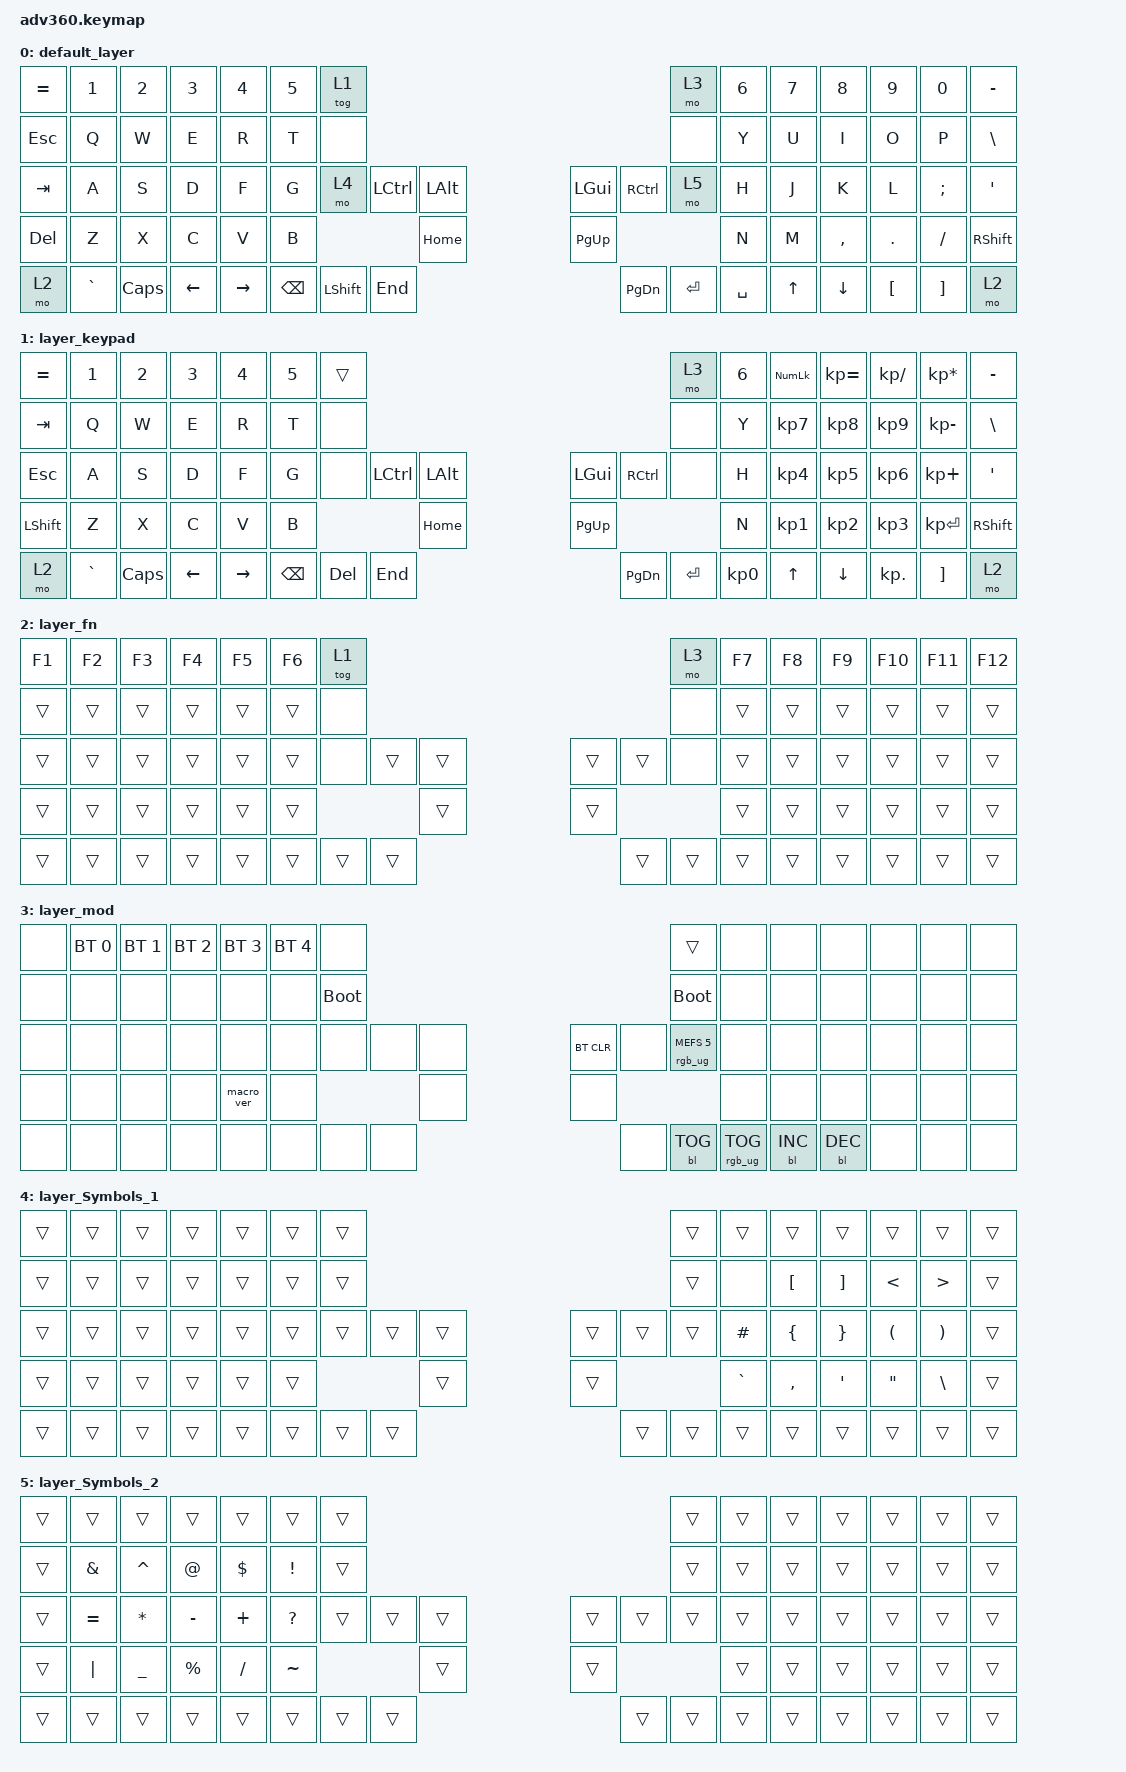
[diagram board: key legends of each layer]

/*
 * Copyright (c) 2020 The ZMK Contributors
 *
 * SPDX-License-Identifier: MIT
 */


/* THIS FILE WAS GENERATED!
 *
 * This file was generated automatically. You may or may not want to
 * edit it directly.
 */

#include <behaviors.dtsi>
#include <dt-bindings/zmk/keys.h>
#include <dt-bindings/zmk/bt.h>
#include <dt-bindings/zmk/rgb.h>
#include <dt-bindings/zmk/backlight.h>

/ {
  behaviors {
    #include "macros.dtsi"
    #include "version.dtsi"

    hm: homerow_mods {
        compatible = "zmk,behavior-hold-tap";
        label = "HOMEROW_MODS";
        #binding-cells = <2>;
        tapping-term-ms = <200>;
        quick_tap_ms = <175>;
        flavor = "tap-preferred";
        bindings = <&kp>, <&kp>;
    };
  };

    keymap {
        compatible = "zmk,keymap";


        default_layer {
            bindings = <
  &kp EQUAL     &kp N1    &kp N2    &kp N3     &kp N4  &kp N5              &tog 1                                                                      &mo 3  &kp N6  &kp N7     &kp N8    &kp N9    &kp N0  &kp MINUS
    &kp ESC      &kp Q     &kp W     &kp E      &kp R   &kp T               &none                                                                      &none   &kp Y   &kp U      &kp I     &kp O     &kp P   &kp BSLH
    &kp TAB      &kp A     &kp S     &kp D      &kp F   &kp G               &mo 4       &kp LCTRL  &kp LALT                   &kp LGUI  &kp RCTRL      &mo 5   &kp H   &kp J      &kp K     &kp L  &kp SEMI    &kp SQT
 &kp DELETE      &kp Z     &kp X     &kp C      &kp V   &kp B                                      &kp HOME                  &kp PG_UP                         &kp N   &kp M  &kp COMMA   &kp DOT  &kp FSLH  &kp RSHFT
      &mo 2  &kp GRAVE  &kp CAPS  &kp LEFT  &kp RIGHT                    &kp BSPC  &kp LEFT_SHIFT   &kp END                  &kp PG_DN  &kp ENTER  &kp SPACE          &kp UP   &kp DOWN  &kp LBKT  &kp RBKT      &mo 2
            >;
        };

        layer_keypad {
            bindings = <
 &kp EQUAL     &kp N1    &kp N2    &kp N3     &kp N4  &kp N5              &trans                                                                 &mo 3  &kp N6  &kp KP_NUM  &kp KP_EQUAL  &kp KP_DIVIDE  &kp KP_MULTIPLY  &kp MINUS
   &kp TAB      &kp Q     &kp W     &kp E      &kp R   &kp T               &none                                                                 &none   &kp Y   &kp KP_N7     &kp KP_N8      &kp KP_N9     &kp KP_MINUS   &kp BSLH
   &kp ESC      &kp A     &kp S     &kp D      &kp F   &kp G               &none  &kp LCTRL  &kp LALT                   &kp LGUI  &kp RCTRL      &none   &kp H   &kp KP_N4     &kp KP_N5      &kp KP_N6      &kp KP_PLUS    &kp SQT
 &kp LSHFT      &kp Z     &kp X     &kp C      &kp V   &kp B                                 &kp HOME                  &kp PG_UP                         &kp N   &kp KP_N1     &kp KP_N2      &kp KP_N3     &kp KP_ENTER  &kp RSHFT
     &mo 2  &kp GRAVE  &kp CAPS  &kp LEFT  &kp RIGHT                    &kp BSPC    &kp DEL   &kp END                  &kp PG_DN  &kp ENTER  &kp KP_N0              &kp UP      &kp DOWN     &kp KP_DOT         &kp RBKT      &mo 2
            >;
        };

        layer_fn {
            bindings = <
 &kp F1  &kp F2  &kp F3  &kp F4  &kp F5  &kp F6            &tog 1                                                   &mo 3  &kp F7  &kp F8  &kp F9  &kp F10  &kp F11  &kp F12
 &trans  &trans  &trans  &trans  &trans  &trans             &none                                                   &none  &trans  &trans  &trans   &trans   &trans   &trans
 &trans  &trans  &trans  &trans  &trans  &trans             &none  &trans  &trans                  &trans  &trans   &none  &trans  &trans  &trans   &trans   &trans   &trans
 &trans  &trans  &trans  &trans  &trans  &trans                            &trans                  &trans                  &trans  &trans  &trans   &trans   &trans   &trans
 &trans  &trans  &trans  &trans  &trans                    &trans  &trans  &trans                  &trans  &trans  &trans          &trans  &trans   &trans   &trans   &trans
            >;
        };

        layer_mod {
            bindings = <
  &none  &bt BT_SEL 0  &bt BT_SEL 1  &bt BT_SEL 2  &bt BT_SEL 3  &bt BT_SEL 4                  &none                                                                          &trans   &none       &none       &none   &none   &none   &none
  &none         &none         &none         &none         &none         &none            &bootloader                                                                     &bootloader   &none       &none       &none   &none   &none   &none
  &none         &none         &none         &none         &none         &none                  &none   &none   &none                  &bt BT_CLR       &none  &rgb_ug RGB_MEFS_CMD 5   &none       &none       &none   &none   &none   &none
  &none         &none         &none         &none    &macro_ver         &none                                  &none                       &none                                       &none       &none       &none   &none   &none   &none
  &none         &none         &none         &none         &none                                &none   &none   &none                       &none  &bl BL_TOG         &rgb_ug RGB_TOG          &bl BL_INC  &bl BL_DEC   &none   &none   &none
            >;
        };

        layer_Symbols_1 {
            bindings = <
 &trans  &trans  &trans  &trans  &trans  &trans            &trans                                                  &trans     &trans            &trans             &trans                &trans                 &trans  &trans
 &trans  &trans  &trans  &trans  &trans  &trans            &trans                                                  &trans      &none  &kp LEFT_BRACKET  &kp RIGHT_BRACKET         &kp LESS_THAN       &kp GREATER_THAN  &trans
 &trans  &trans  &trans  &trans  &trans  &trans            &trans  &trans  &trans                  &trans  &trans  &trans  &kp POUND    &kp LEFT_BRACE    &kp RIGHT_BRACE  &kp LEFT_PARENTHESIS  &kp RIGHT_PARENTHESIS  &trans
 &trans  &trans  &trans  &trans  &trans  &trans                            &trans                  &trans                  &kp GRAVE         &kp COMMA   &kp SINGLE_QUOTE     &kp DOUBLE_QUOTES          &kp BACKSLASH  &trans
 &trans  &trans  &trans  &trans  &trans                    &trans  &trans  &trans                  &trans  &trans  &trans                       &trans             &trans                &trans                 &trans  &trans
            >;
        };

        layer_Symbols_2 {
            bindings = <
 &trans         &trans          &trans       &trans      &trans           &trans            &trans                                                  &trans  &trans  &trans  &trans  &trans  &trans  &trans
 &trans  &kp AMPERSAND       &kp CARET       &kp AT  &kp DOLLAR  &kp EXCLAMATION            &trans                                                  &trans  &trans  &trans  &trans  &trans  &trans  &trans
 &trans      &kp EQUAL    &kp ASTERISK    &kp MINUS    &kp PLUS     &kp QUESTION            &trans  &trans  &trans                  &trans  &trans  &trans  &trans  &trans  &trans  &trans  &trans  &trans
 &trans       &kp PIPE  &kp UNDERSCORE  &kp PERCENT   &kp SLASH        &kp TILDE                            &trans                  &trans                  &trans  &trans  &trans  &trans  &trans  &trans
 &trans         &trans          &trans       &trans      &trans                             &trans  &trans  &trans                  &trans  &trans  &trans          &trans  &trans  &trans  &trans  &trans
            >;
        };

    };
};
